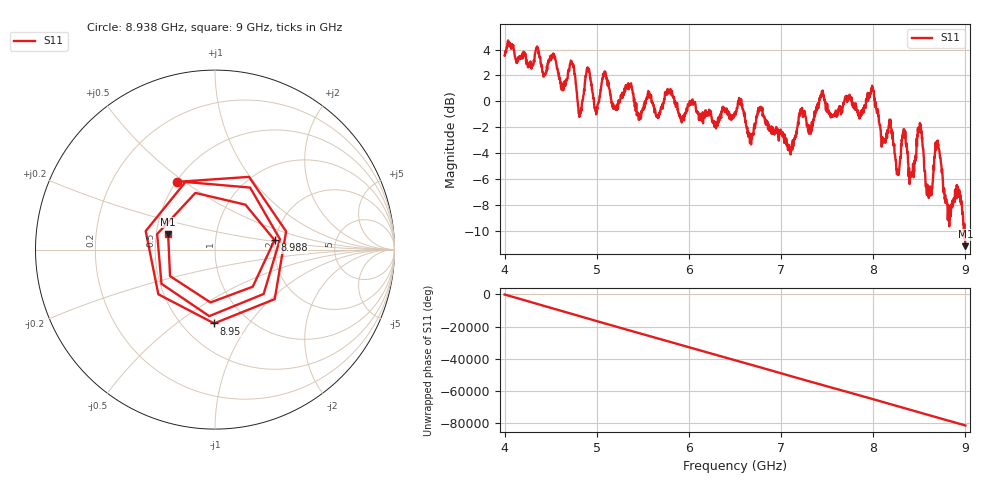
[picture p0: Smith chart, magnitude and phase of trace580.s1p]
! Created with skrf 1.8.0 (http://scikit-rf.org).
# Hz S RI R 50.0
!freq ReS11 ImS11
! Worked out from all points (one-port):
!   1601 points, 4 GHz to 9 GHz, reference 50 ohm
!   lowest |S11| = -11.2 dB at 9 GHz (marker M1), VSWR 1.76, Z = 28.9 + j5.43 ohm
!   |S11| at or under -10 dB: 8.982652 GHz to 8.985709 GHz (3.057 MHz wide, 0.034 % of centre); 8.989396 GHz to end of sweep
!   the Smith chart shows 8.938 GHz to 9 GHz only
!   S11 on the Smith chart (normalised r, x): 8.938 GHz: 0.50, +0.47; 8.95 GHz: 0.71, -0.70; 8.988 GHz: 1.97, +0.24; 9 GHz: 0.58, +0.11
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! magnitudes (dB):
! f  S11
! 4 GHz  3.5
! 4.531 GHz  3.5
! 4.625 GHz  0.9
! 4.728 GHz  3.1
! 4.812 GHz  -1.2
! 4.903 GHz  2.6
! 4.991 GHz  -0.7
! 5.084 GHz  2.3
! 5.25 GHz  0.0
! 5.875 GHz  -0.3
! 6.5 GHz  -0.9
! 7.125 GHz  -3.1
! 7.441 GHz  0.6
! 7.75 GHz  0.3
! 7.991 GHz  1.0
! 8.191 GHz  -2.0
! 8.262 GHz  -5.5
! 8.328 GHz  -2.2
! 8.375 GHz  -4.2
! 8.419 GHz  -5.5
! 8.506 GHz  -1.7
! 8.591 GHz  -7.3
! 8.697 GHz  -3.3
! 8.812 GHz  -8.7
! 8.938 GHz  -7.3
! 8.95 GHz  -7.7
! 8.988 GHz  -9.5
! 9 GHz  -11.2
